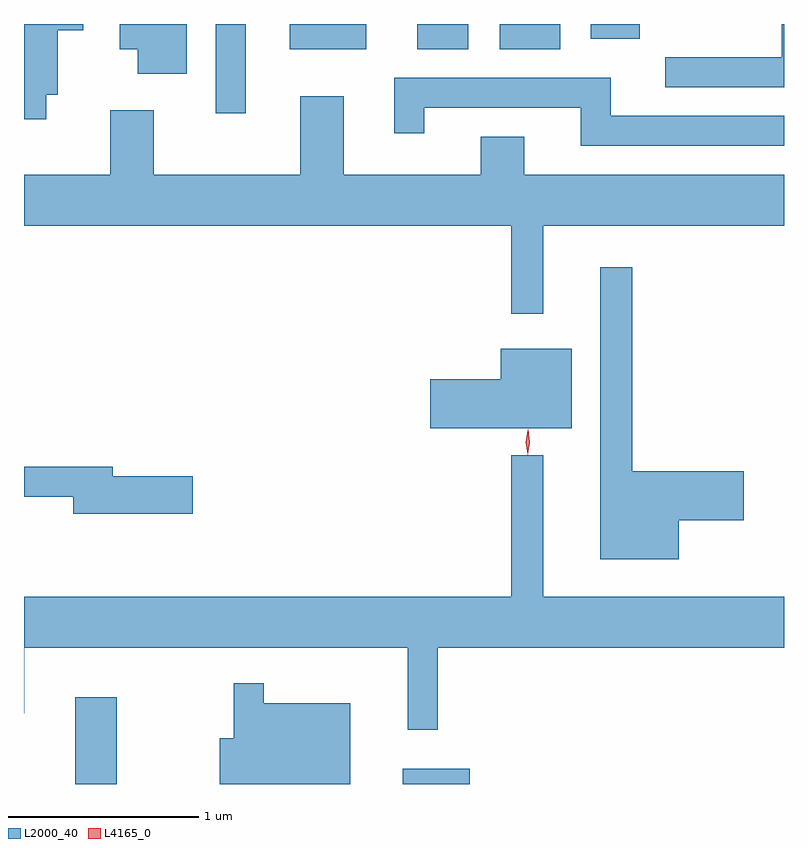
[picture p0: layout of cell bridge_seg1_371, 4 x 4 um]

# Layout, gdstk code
import gdstk
lib = gdstk.Library(unit=1e-6, precision=1e-09)
def R(c, l, rs):  # rectangles x0, y0, x1, y1
    for r in rs: c.add(gdstk.rectangle(r[:2], r[2:], *l))
def P(c, l, *ps):  # polygons
    for p in ps: c.add(gdstk.Polygon(p, *l))
L2000_40 = (2000, 40)
L4165_0 = (4165, 0)

bridge_seg1_371 = lib.new_cell('bridge_seg1_371')
R(bridge_seg1_371, L2000_40, [(889.786,869.998,890.004,870.454), (891.511,869.998,891.864,870.079), (890.526,873.528,890.684,873.998), (890.916,873.866,891.319,873.998), (891.586,873.866,891.854,873.998), (892.021,873.866,892.339,873.998), (892.501,873.921,892.759,873.998)])
P(bridge_seg1_371, L2000_40, [(893.517,873.998),(893.506,873.998),(893.506,873.824),(892.893,873.824),(892.893,873.666),(893.517,873.666)],
  [(890.374,873.998),(890.021,873.998),(890.021,873.866),(890.116,873.866),(890.116,873.736),(890.374,873.736)],
  [(889.634,873.626),(889.694,873.626),(889.694,873.966),(889.829,873.966),(889.829,873.998),(889.517,873.998),(889.517,873.496),(889.634,873.496)],
  [(893.517,873.514),(892.604,873.514),(892.604,873.714),(891.466,873.714),(891.466,873.423),(891.624,873.423),(891.624,873.556),(892.446,873.556),(892.446,873.356),(893.517,873.356)],
  [(892.249,872.936),(893.517,872.936),(893.517,873.204),(892.149,873.204),(892.149,873.404),(891.921,873.404),(891.921,873.204),(891.199,873.204),(891.199,873.619),(890.971,873.619),(890.971,873.204),(890.199,873.204),(890.199,873.544),(889.971,873.544),(889.971,873.204),(889.517,873.204),(889.517,872.936),(892.081,872.936),(892.081,872.473),(892.249,872.473)],
  [(892.964,871.386),(893.304,871.386),(893.304,871.644),(892.719,871.644),(892.719,872.718),(892.551,872.718),(892.551,871.181),(892.964,871.181)],
  [(892.399,872.289),(892.026,872.289),(892.026,872.129),(891.656,872.129),(891.656,871.871),(892.399,871.871)],
  [(891.694,870.716),(893.517,870.716),(893.517,870.984),(892.249,870.984),(892.249,871.728),(892.081,871.728),(892.081,870.984),(889.517,870.984),(889.517,870.371),(889.519,870.371),(889.519,870.716),(891.536,870.716),(891.536,870.283),(891.694,870.283)],
  [(890.404,871.619),(889.984,871.619),(889.984,871.669),(889.517,871.669),(889.517,871.511),(889.776,871.511),(889.776,871.421),(890.404,871.421)],
  [(891.234,870.424),(890.779,870.424),(890.779,870.528),(890.621,870.528),(890.621,870.239),(890.546,870.239),(890.546,869.998),(891.234,869.998)])
P(bridge_seg1_371, L4165_0, [(892.169,871.733),(892.168,871.734),(892.159,871.796),(892.168,871.859),(892.169,871.86),(892.169,871.859),(892.179,871.796),(892.169,871.734)],
  [(892.168,871.73),(892.16,871.798),(892.17,871.865),(892.171,871.866),(892.171,871.865),(892.18,871.798),(892.169,871.73),(892.169,871.73)])

lib.write_gds('bridge_seg1_371.gds')
